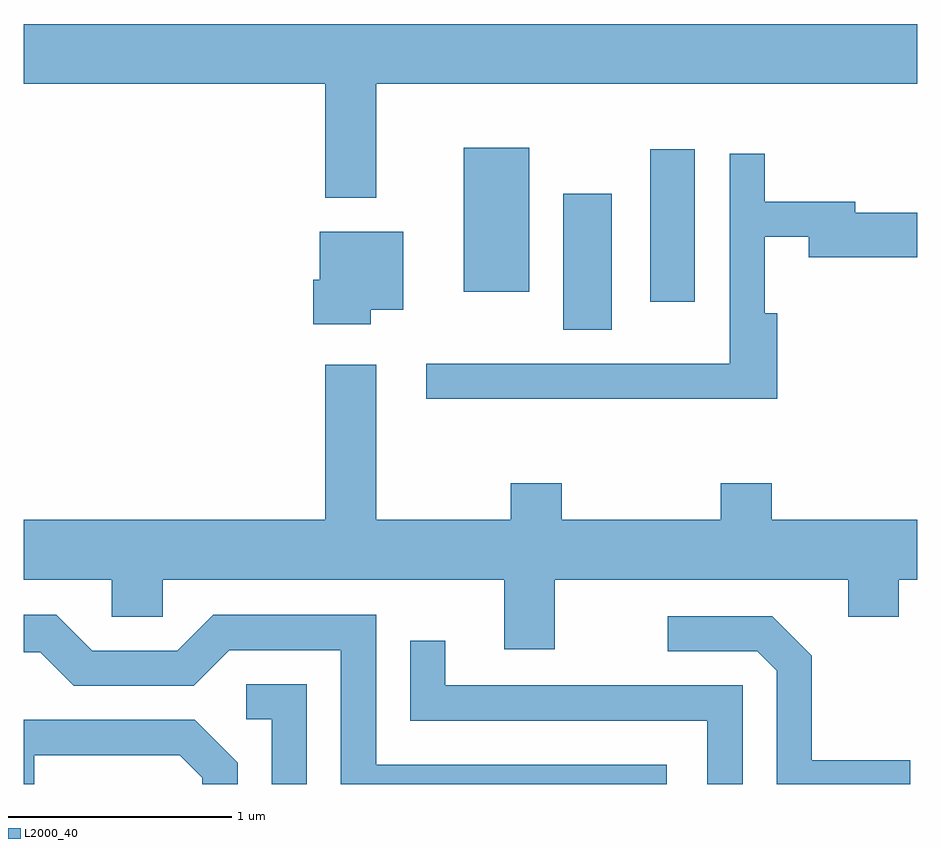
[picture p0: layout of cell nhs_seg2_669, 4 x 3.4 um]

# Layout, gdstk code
import gdstk
lib = gdstk.Library(unit=1e-6, precision=1e-09)
def R(c, l, rs):  # rectangles x0, y0, x1, y1
    for r in rs: c.add(gdstk.rectangle(r[:2], r[2:], *l))
def P(c, l, *ps):  # polygons
    for p in ps: c.add(gdstk.Polygon(p, *l))
L2000_40 = (2000, 40)

nhs_seg2_669 = lib.new_cell('nhs_seg2_669')
R(nhs_seg2_669, L2000_40, [(206.026,1093.836,206.244,1094.444), (206.416,1093.961,206.614,1094.644), (205.581,1094.006,205.874,1094.649)])
P(nhs_seg2_669, L2000_40, [(205.189,1094.936),(207.611,1094.936),(207.611,1095.204),(203.611,1095.204),(203.611,1094.936),(204.961,1094.936),(204.961,1094.426),(205.189,1094.426)],
  [(206.984,1093.909),(206.929,1093.909),(206.929,1094.251),(207.126,1094.251),(207.126,1094.161),(207.611,1094.161),(207.611,1094.359),(207.334,1094.359),(207.334,1094.409),(206.929,1094.409),(206.929,1094.623),(206.771,1094.623),(206.771,1093.684),(205.413,1093.684),(205.413,1093.526),(206.984,1093.526)],
  [(205.164,1093.926),(205.309,1093.926),(205.309,1094.274),(204.936,1094.274),(204.936,1094.059),(204.906,1094.059),(204.906,1093.861),(205.164,1093.861)],
  [(205.989,1092.716),(207.301,1092.716),(207.301,1092.551),(207.529,1092.551),(207.529,1092.716),(207.611,1092.716),(207.611,1092.984),(206.959,1092.984),(206.959,1093.149),(206.731,1093.149),(206.731,1092.984),(206.019,1092.984),(206.019,1093.149),(205.791,1093.149),(205.791,1092.984),(205.189,1092.984),(205.189,1093.679),(204.961,1093.679),(204.961,1092.984),(203.611,1092.984),(203.611,1092.716),(204.006,1092.716),(204.006,1092.551),(204.234,1092.551),(204.234,1092.716),(205.761,1092.716),(205.761,1092.406),(205.989,1092.406)],
  [(206.489,1091.889),(205.189,1091.889),(205.189,1092.559),(204.459,1092.559),(204.299,1092.399),(203.917,1092.399),(203.757,1092.559),(203.611,1092.559),(203.611,1092.391),(203.684,1092.391),(203.834,1092.241),(204.372,1092.241),(204.532,1092.401),(205.031,1092.401),(205.031,1091.802),(206.489,1091.802)],
  [(207.579,1091.909),(207.139,1091.909),(207.139,1092.377),(206.962,1092.554),(206.493,1092.554),(206.493,1092.396),(206.894,1092.396),(206.981,1092.309),(206.981,1091.802),(207.579,1091.802)],
  [(206.829,1092.244),(205.499,1092.244),(205.499,1092.443),(205.341,1092.443),(205.341,1092.086),(206.671,1092.086),(206.671,1091.802),(206.829,1091.802)],
  [(204.879,1092.249),(204.608,1092.249),(204.608,1092.091),(204.721,1092.091),(204.721,1091.802),(204.879,1091.802)],
  [(203.659,1091.931),(204.309,1091.931),(204.411,1091.829),(204.411,1091.802),(204.569,1091.802),(204.569,1091.897),(204.377,1092.089),(203.611,1092.089),(203.611,1091.802),(203.659,1091.802)])

lib.write_gds('nhs_seg2_669.gds')
